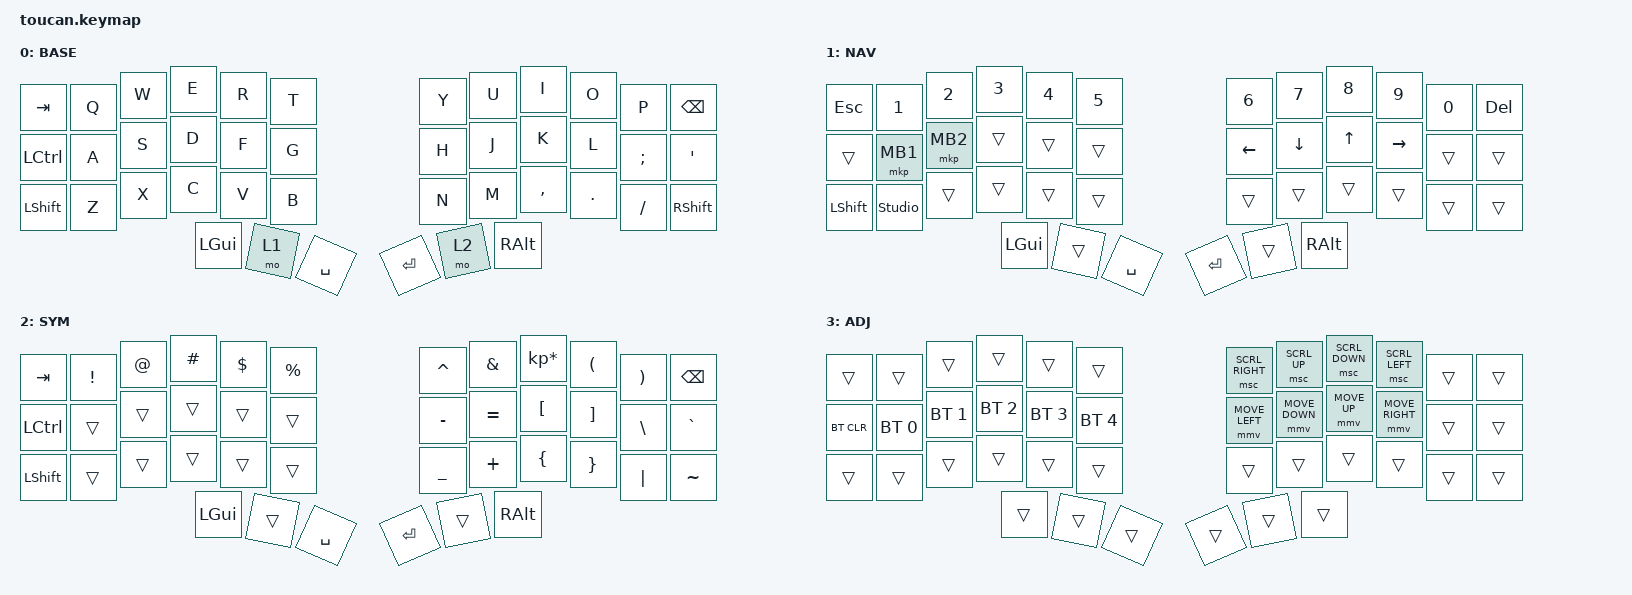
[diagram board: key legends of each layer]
#include <behaviors.dtsi>
#include <dt-bindings/zmk/keys.h>
#include <dt-bindings/zmk/bt.h>
#include <dt-bindings/zmk/pointing.h>
#include <dt-bindings/zmk/outputs.h>

#define ZMK_POINTING_DEFAULT_MOVE_VAL 1500  // default: 600
#define ZMK_POINTING_DEFAULT_SCRL_VAL 20    // default: 10 

#define BASE 0
#define NAV  1
#define SYM  2
#define ADJ  3

/ {
    conditional_layers {
        compatible = "zmk,conditional-layers";
        tri_layer {
            if-layers = <1 2>;
            then-layer = <3>;
        };
    };

    keymap {
        compatible = "zmk,keymap";

        base {
            display-name = "BASE";
            bindings = <
                &kp TAB   &kp Q &kp W &kp E &kp R &kp T   &kp Y &kp U  &kp I     &kp O   &kp P    &kp BSPC
                &kp LCTRL &kp A &kp S &kp D &kp F &kp G   &kp H &kp J  &kp K     &kp L   &kp SEMI &kp SQT
                &kp LSHFT &kp Z &kp X &kp C &kp V &kp B   &kp N &kp M  &kp COMMA &kp DOT &kp FSLH &kp RSHFT
                                &kp LGUI &mo 1 &kp SPACE   &kp RET &mo 2 &kp RALT
            >;
        };

        nav {
            display-name = "NAV";
            bindings = <
                &kp ESC     &kp N1          &kp N2       &kp N3       &kp N4       &kp N5         &kp N6   &kp N7   &kp N8 &kp N9    &kp N0 &kp DEL
                &trans &mkp MB1 &mkp MB2 &trans &trans &trans   &kp LEFT &kp DOWN &kp UP &kp RIGHT &trans &trans
                &kp LSHFT   &studio_unlock  &trans       &trans       &trans       &trans         &trans   &trans   &trans &trans    &trans &trans
                                                &kp LGUI     &trans       &kp SPACE      &kp RET  &trans   &kp RALT
            >;
        };

        sym {
            display-name = "SYM";
            bindings = <
                &kp TAB   &kp EXCL &kp AT &kp HASH &kp DLLR &kp PRCNT   &kp CARET &kp AMPS  &kp KP_MULTIPLY &kp LPAR &kp RPAR &kp BSPC
                &kp LCTRL &trans   &trans &trans   &trans   &trans      &kp MINUS &kp EQUAL &kp LBKT        &kp RBKT &kp BSLH &kp GRAVE
                &kp LSHFT &trans   &trans &trans   &trans   &trans      &kp UNDER &kp PLUS  &kp LBRC        &kp RBRC &kp PIPE &kp TILDE
                                          &kp LGUI &trans   &kp SPACE   &kp RET   &trans    &kp RALT
            >;
        };

        adj {
            display-name = "ADJ";
            bindings = <
                &trans   &trans &trans &trans &trans &trans   &msc SCRL_RIGHT &msc SCRL_UP &msc SCRL_DOWN &msc SCRL_LEFT &trans &trans
                &bt BT_CLR  &bt BT_SEL 0    &bt BT_SEL 1 &bt BT_SEL 2 &bt BT_SEL 3 &bt BT_SEL 4   &mmv MOVE_LEFT &mmv MOVE_DOWN &mmv MOVE_UP &mmv MOVE_RIGHT &trans &trans
                &trans &trans &trans &trans &trans &trans   &trans       &trans      &trans       &trans &trans &trans
                                   &trans &trans   &trans   &trans   &trans    &trans
            >;
        };
        extra_1 {
                status = "reserved";
        };

        extra_2 {
                status = "reserved";
        };

        extra_3 {
                status = "reserved";
        };
    };
}; 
